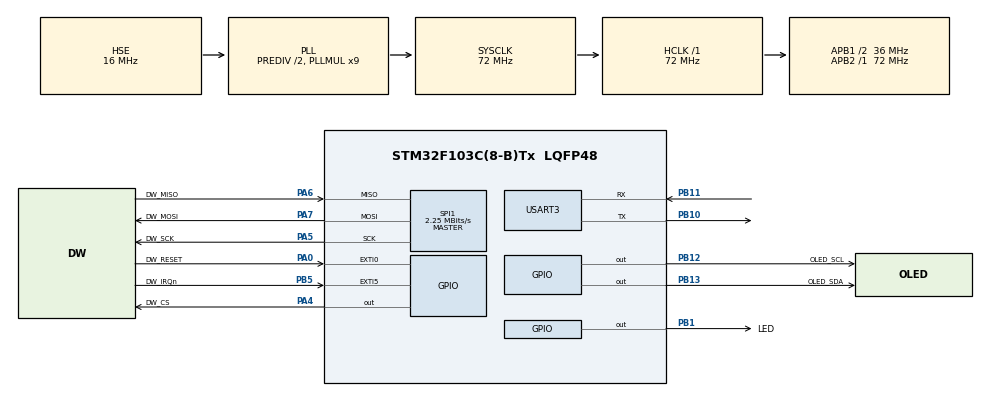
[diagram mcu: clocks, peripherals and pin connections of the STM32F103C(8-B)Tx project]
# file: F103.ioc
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Mcu.Family=STM32F1
Mcu.Name=STM32F103C(8-B)Tx
Mcu.Package=LQFP48
NVIC.EXTI0_IRQn=true\:3\:0\:true\:false\:true\:true\:true\:true
NVIC.EXTI9_5_IRQn=true\:4\:0\:true\:false\:true\:true\:true\:true
NVIC.PriorityGroup=NVIC_PRIORITYGROUP_4
NVIC.TIM3_IRQn=true\:0\:0\:false\:false\:true\:true\:true\:true
PA0-WKUP.GPIO_Label=DW_RESET
PA0-WKUP.Signal=GPXTI0
PA13.GPIO_Label=SYS_SWDIO
PA13.Mode=Serial_Wire
PA13.Signal=SYS_JTMS-SWDIO
PA14.GPIO_Label=SYS_SWCLK
PA14.Mode=Serial_Wire
PA14.Signal=SYS_JTCK-SWCLK
PA4.GPIO_Label=DW_CS
PA4.GPIO_Speed=GPIO_SPEED_FREQ_HIGH
PA4.PinState=GPIO_PIN_SET
PA4.Signal=GPIO_Output
PA5.GPIO_Label=DW_SCK
PA5.Mode=Full_Duplex_Master
PA5.Signal=SPI1_SCK
PA6.GPIO_Label=DW_MISO
PA6.Mode=Full_Duplex_Master
PA6.Signal=SPI1_MISO
PA7.GPIO_Label=DW_MOSI
PA7.Mode=Full_Duplex_Master
PA7.Signal=SPI1_MOSI
PB1.GPIO_Label=LED
PB1.GPIO_PuPd=GPIO_PULLUP
PB1.GPIO_Speed=GPIO_SPEED_FREQ_HIGH
PB1.PinState=GPIO_PIN_SET
PB1.Signal=GPIO_Output
PB10.Mode=Asynchronous
PB10.Signal=USART3_TX
PB11.Mode=Asynchronous
PB11.Signal=USART3_RX
PB12.GPIO_Label=OLED_SCL
PB12.GPIO_ModeDefaultOutputPP=GPIO_MODE_OUTPUT_PP
PB12.GPIO_PuPd=GPIO_NOPULL
PB12.GPIO_Speed=GPIO_SPEED_FREQ_HIGH
PB12.PinState=GPIO_PIN_SET
PB12.Signal=GPIO_Output
PB13.GPIO_Label=OLED_SDA
PB13.GPIO_ModeDefaultOutputPP=GPIO_MODE_OUTPUT_PP
PB13.GPIO_PuPd=GPIO_NOPULL
PB13.GPIO_Speed=GPIO_SPEED_FREQ_HIGH
PB13.PinState=GPIO_PIN_SET
PB13.Signal=GPIO_Output
PB5.GPIO_Label=DW_IRQn
PB5.GPIO_PuPd=GPIO_PULLDOWN
PB5.Signal=GPXTI5
PD0-OSC_IN.Mode=HSE-External-Oscillator
PD0-OSC_IN.Signal=RCC_OSC_IN
PD1-OSC_OUT.Mode=HSE-External-Oscillator
PD1-OSC_OUT.Signal=RCC_OSC_OUT
ProjectManager.HeapSize=0x200
ProjectManager.StackSize=0x400
ProjectManager.TargetToolchain=MDK-ARM V5.32
RCC.AHBFreq_Value=72000000
RCC.APB1CLKDivider=RCC_HCLK_DIV2
RCC.APB1Freq_Value=36000000
RCC.APB1TimFreq_Value=72000000
RCC.APB2Freq_Value=72000000
RCC.APB2TimFreq_Value=72000000
RCC.HCLKFreq_Value=72000000
RCC.HSEDivPLL=RCC_HSE_PREDIV_DIV2
RCC.HSE_VALUE=16000000
RCC.PLLMUL=RCC_PLL_MUL9
RCC.PLLSourceVirtual=RCC_PLLSOURCE_HSE
RCC.SYSCLKFreq_VALUE=72000000
RCC.SYSCLKSource=RCC_SYSCLKSOURCE_PLLCLK
RCC.USBFreq_Value=72000000
SPI1.BaudRatePrescaler=SPI_BAUDRATEPRESCALER_32
SPI1.CRCCalculation=SPI_CRCCALCULATION_DISABLE
SPI1.CalculateBaudRate=2.25 MBits/s
SPI1.Direction=SPI_DIRECTION_2LINES
SPI1.Mode=SPI_MODE_MASTER
SPI1.VirtualType=VM_MASTER
TIM3.Prescaler=71
USART3.VirtualMode=VM_ASYNC
VP_TIM3_VS_ClockSourceINT.Mode=Internal
board=custom

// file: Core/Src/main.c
/* USER CODE BEGIN Header */
/**
  ******************************************************************************
  * @file           : main.c
  * @brief          : Main program body
  ******************************************************************************
  * @attention
  *
  * Copyright (c) 2022 STMicroelectronics.
  * All rights reserved.
  *
  * This software is licensed under terms that can be found in the LICENSE file
  * in the root directory of this software component.
  * If no LICENSE file comes with this software, it is provided AS-IS.
  *
  ******************************************************************************
  */
/* USER CODE END Header */
#include "main.h"
#include "spi.h"
#include "tim.h"
#include "usart.h"
#include "gpio.h"

/* USER CODE BEGIN Includes */
#include "oled.h"
#include "config.h"
/* USER CODE END Includes */

/* USER CODE BEGIN PM */
#define INIT 0x01
#define RESP 0x00
/* USER CODE END PM */

/* USER CODE BEGIN PV */
static uint8_t dw1000_mode = INIT;
/* USER CODE END PV */

void SystemClock_Config(void);

int main(void)
{

  /* MCU Configuration--------------------------------------------------------*/

  /* Reset of all peripherals, Initializes the Flash interface and the Systick. */
  HAL_Init();

  /* Configure the system clock */
  SystemClock_Config();

  /* Initialize all configured peripherals */
  MX_GPIO_Init();
  MX_SPI1_Init();
  MX_TIM3_Init();
  MX_USART3_UART_Init();
  /* USER CODE BEGIN 2 */
  HAL_Delay(500);
  OLED_Init();

//  dw1000_mode = RESP;

  if(dw1000_mode)
	  initiator_init();
  else
	  responder_init();

  /* USER CODE END 2 */

  /* Infinite loop */
  /* USER CODE BEGIN WHILE */
  if(dw1000_mode)
	  initiator_running();
  else
	  responder_running();

  while (1)
  {
    /* USER CODE END WHILE */

  }
}

void SystemClock_Config(void)
{
  RCC_OscInitTypeDef RCC_OscInitStruct = {0};
  RCC_ClkInitTypeDef RCC_ClkInitStruct = {0};

  /** Initializes the RCC Oscillators according to the specified parameters
  * in the RCC_OscInitTypeDef structure.
  */
  RCC_OscInitStruct.OscillatorType = RCC_OSCILLATORTYPE_HSE;
  RCC_OscInitStruct.HSEState = RCC_HSE_ON;
  RCC_OscInitStruct.HSEPredivValue = RCC_HSE_PREDIV_DIV2;
  RCC_OscInitStruct.HSIState = RCC_HSI_ON;
  RCC_OscInitStruct.PLL.PLLState = RCC_PLL_ON;
  RCC_OscInitStruct.PLL.PLLSource = RCC_PLLSOURCE_HSE;
  RCC_OscInitStruct.PLL.PLLMUL = RCC_PLL_MUL9;
  if (HAL_RCC_OscConfig(&RCC_OscInitStruct) != HAL_OK)
  {
    Error_Handler();
  }
  /** Initializes the CPU, AHB and APB buses clocks
  */
  RCC_ClkInitStruct.ClockType = RCC_CLOCKTYPE_HCLK|RCC_CLOCKTYPE_SYSCLK
                              |RCC_CLOCKTYPE_PCLK1|RCC_CLOCKTYPE_PCLK2;
  RCC_ClkInitStruct.SYSCLKSource = RCC_SYSCLKSOURCE_PLLCLK;
  RCC_ClkInitStruct.AHBCLKDivider = RCC_SYSCLK_DIV1;
  RCC_ClkInitStruct.APB1CLKDivider = RCC_HCLK_DIV2;
  RCC_ClkInitStruct.APB2CLKDivider = RCC_HCLK_DIV1;

  if (HAL_RCC_ClockConfig(&RCC_ClkInitStruct, FLASH_LATENCY_2) != HAL_OK)
  {
    Error_Handler();
  }
}

void Error_Handler(void)
{
  __disable_irq();
  while (1)
  {
  }
}
